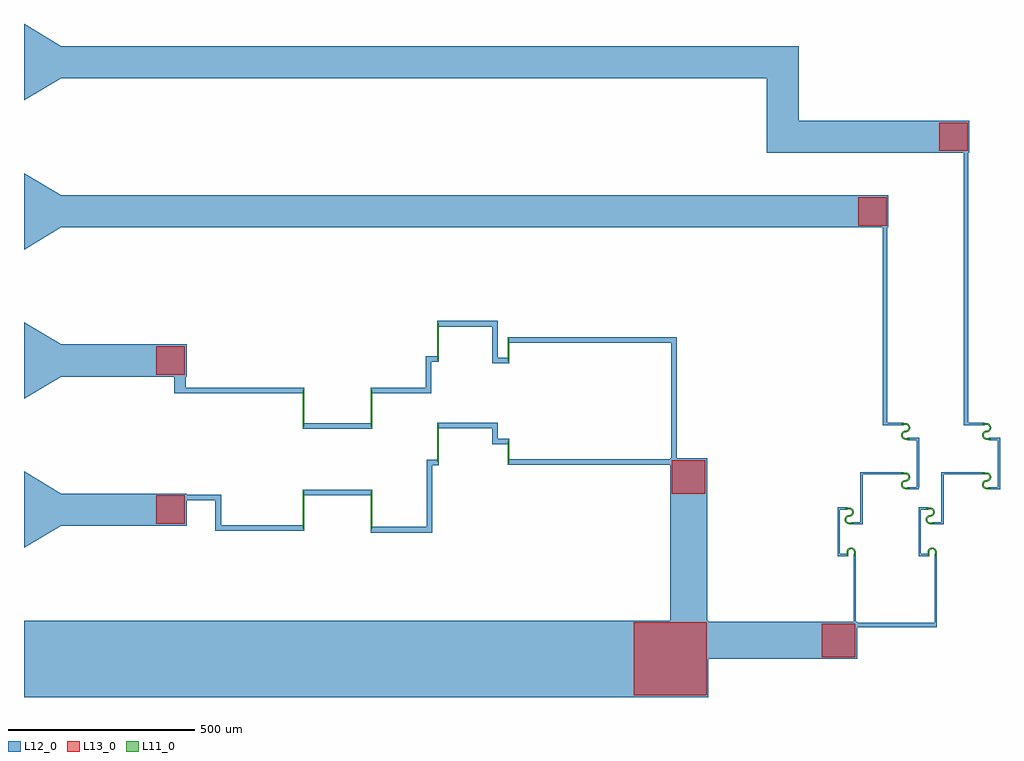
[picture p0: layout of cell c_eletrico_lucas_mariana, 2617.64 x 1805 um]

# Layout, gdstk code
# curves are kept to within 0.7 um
from math import pi, radians
import gdstk
lib = gdstk.Library(unit=1e-6, precision=1e-09)
def R(c, l, rs):  # rectangles x0, y0, x1, y1
    for r in rs: c.add(gdstk.rectangle(r[:2], r[2:], *l))
def P(c, l, *ps):  # polygons
    for p in ps: c.add(gdstk.Polygon(p, *l))
L11_0 = (11, 0)
L12_0 = (12, 0)
L13_0 = (13, 0)

arc_1 = lib.new_cell('ARC$1')
P(arc_1, L11_0, [(-12,0),(-11.312,4.048),(-8.902,8.068),(-5.137,10.861),(-0.59,12),(4.048,11.312),(8.068,8.902),(10.861,5.137),(12,0.59),(12,0),(8,0),(7.241,3.425),(5.379,5.935),(2.698,7.541),(-0.393,8),(-3.425,7.241),(-5.935,5.379),(-7.541,2.698),(-8,0)])

conexoes_circulares = lib.new_cell('conexoes_circulares')
R(conexoes_circulares, L11_0, [(0,-22,11,-18), (-11,18,0,22)])
conexoes_circulares.add(gdstk.Reference(arc_1, (0,-10), rotation=pi/2))
conexoes_circulares.add(gdstk.Reference(arc_1, (0,10), rotation=3*pi/2))

conexoes_circulares2 = lib.new_cell('conexoes_circulares2')
R(conexoes_circulares2, L11_0, [(-12,-17,-8,-6), (8,-17,12,-6)])
conexoes_circulares2.add(gdstk.Reference(arc_1, (0,-6)))

c_eletrico_lucas_mariana = lib.new_cell('c_eletrico_lucas_mariana')
R(c_eletrico_lucas_mariana, L11_0, [(747.389,451.193,751.389,551.193), (930.206,451.193,934.206,551.193), (1297.562,627.402,1301.562,687.402), (1108.797,630.902,1112.797,730.902), (747.389,724.339,751.389,824.339), (930.206,724.339,934.206,824.339), (1297.562,900.389,1301.562,960.389), (1108.797,903.573,1112.797,1003.573)])
R(c_eletrico_lucas_mariana, L12_0, [(1835.72,102,2234.273,202), (2234.273,187,2448.497,199), (2442.497,199,2448.497,383.61), (2225.273,202,2231.273,383.61), (2182.169,377.61,2188.169,502.833), (2188.169,377.61,2210.273,383.61), (2399.393,377.61,2405.393,502.833), (2405.393,377.61,2427.497,383.61), (513.41,446.193,528.41,542.5), (528.41,446.193,747.389,461.193), (747.389,446.193,751.389,461.193), (2218.169,462.833,2249.169,468.833), (2435.493,462.833,2466.493,468.833), (2243.169,468.833,2249.169,596.795), (2460.493,468.833,2466.493,596.795), (2182.169,502.833,2208.169,508.833), (2399.393,502.833,2425.493,508.833), (436.31,527.5,513.41,542.5), (747.389,541.193,934.206,556.193), (2369.315,556.795,2400.315,562.795), (2586.639,556.795,2617.639,562.795), (2394.474,562.795,2400.474,689.275), (2611.639,562.795,2617.639,689.275), (2243.169,596.795,2359.315,602.795), (2460.493,596.795,2576.639,602.795), (1297.562,622.402,1301.562,637.402), (1301.562,622.402,1732.72,637.402), (1735.72,640.402,1750.72,965.389), (1256.055,677.402,1271.055,735.902), (1271.055,677.402,1297.562,692.402), (1297.562,677.402,1301.562,692.402), (2369.474,689.275,2400.474,695.275), (2586.797,689.275,2617.639,695.275), (747.389,719.339,934.206,734.339), (1108.797,720.902,1112.797,735.902), (1112.797,720.902,1256.055,735.902), (2303.474,729.275,2315.474,1259.5), (2315.474,729.275,2359.474,735.275), (2520.797,729.275,2532.797,1459.5), (2532.797,729.275,2576.797,735.275), (1256.055,895.389,1271.055,1008.573), (1271.055,895.389,1297.562,910.389), (1297.562,895.389,1301.562,910.389), (1297.562,950.389,1301.562,965.389), (1301.562,950.389,1735.72,965.389), (1108.797,993.573,1112.797,1008.573), (1112.797,993.573,1256.055,1008.573), (100,1259.5,2318.474,1345.5), (1992.04,1459.5,2078.04,1659.5), (2078.04,1459.5,2535.797,1545.5), (100,1659.5,2078.04,1745.5)])
P(c_eletrico_lucas_mariana, L12_0, [(0,1200),(0,1405),(100,1345.5),(100,1259.5)],
  [(0,1600),(0,1805),(100,1745.5),(100,1659.5)],
  [(0,0),(0,205),(1732.72,205),(1732.72,640.402),(1832.72,640.402),(1832.72,205),(1835.72,205),(1835.72,0)],
  [(0,400),(0,605),(100,545.5),(436.31,545.5),(436.31,459.5),(100,459.5)],
  [(0,800),(0,1005),(100,945.5),(436.31,945.5),(436.31,859.5),(433.31,859.5),(433.31,829.339),(751.389,829.339),(751.389,814.339),(403.31,814.339),(403.31,859.5),(100,859.5)],
  [(930.206,814.339),(930.206,829.339),(1077.52,829.339),(1077.52,913.573),(1112.797,913.573),(1112.797,898.573),(1092.52,898.573),(1092.52,814.339)],
  [(930.206,441.193),(930.206,456.193),(1080.59,456.193),(1080.59,635.902),(1112.797,635.902),(1112.797,620.902),(1095.59,620.902),(1095.59,441.193)])
R(c_eletrico_lucas_mariana, L13_0, [(1635.72,5,1830.72,200), (2139.273,107,2229.273,197), (355.31,464.5,431.31,540.5), (1737.72,545.402,1827.72,635.402), (355.31,864.5,431.31,940.5), (2237.474,1264.5,2313.474,1340.5), (2454.797,1464.5,2530.797,1540.5)])
c_eletrico_lucas_mariana.add(gdstk.Reference(conexoes_circulares, (2364.315,579.795)))
c_eletrico_lucas_mariana.add(gdstk.Reference(conexoes_circulares2, (2435.497,394.61)))
c_eletrico_lucas_mariana.add(gdstk.Reference(conexoes_circulares, (2581.639,579.795)))
c_eletrico_lucas_mariana.add(gdstk.Reference(conexoes_circulares, (2581.797,712.275)))
c_eletrico_lucas_mariana.add(gdstk.Reference(conexoes_circulares, (2430.493,485.833)))
c_eletrico_lucas_mariana.add(gdstk.Reference(conexoes_circulares, (2364.474,712.275)))
c_eletrico_lucas_mariana.add(gdstk.Reference(conexoes_circulares, (2213.169,485.833)))
c_eletrico_lucas_mariana.add(gdstk.Reference(conexoes_circulares2, (2218.273,394.61)))

lib.write_gds('c_eletrico_lucas_mariana.gds')
